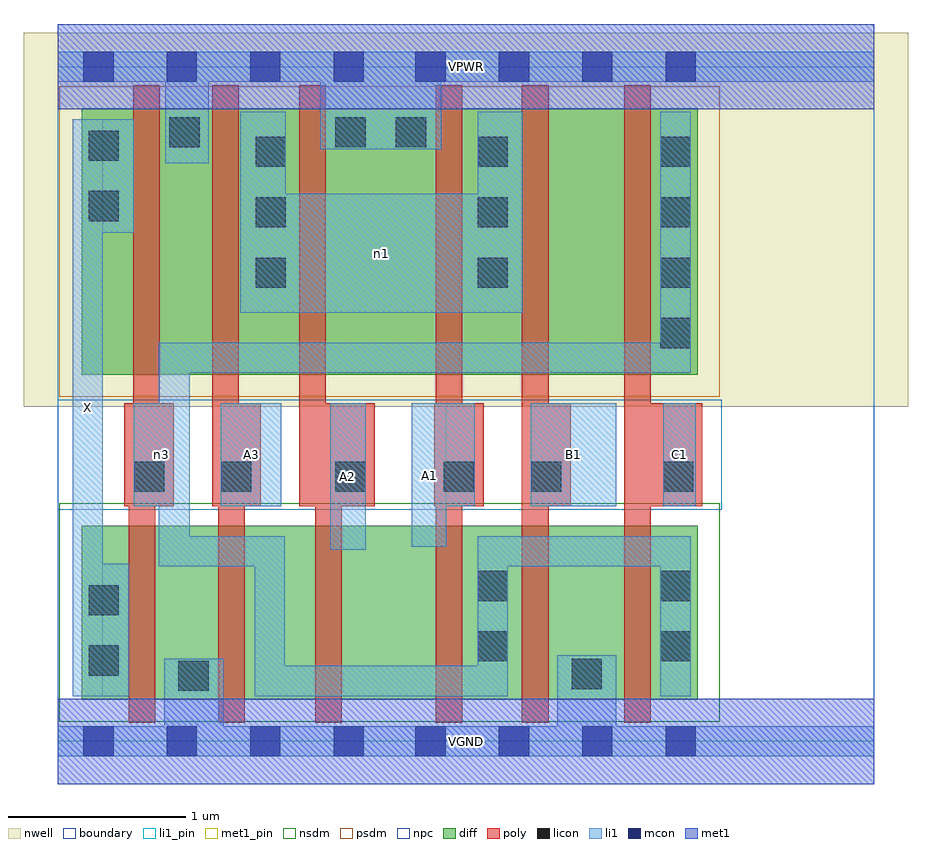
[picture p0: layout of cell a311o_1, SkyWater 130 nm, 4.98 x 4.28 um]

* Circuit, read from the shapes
.subckt a311o_1 A1 A2 A3 B1 C1 VGND VPWR X n1 n3
XM1 VGND n3 X VSUBS sky130_fd_pr__nfet_01v8 w=0.98 l=0.15
XM2 n2 A3 VGND VSUBS sky130_fd_pr__nfet_01v8 w=0.98 l=0.15
XM3 n4 A2 n2 VSUBS sky130_fd_pr__nfet_01v8 w=0.98 l=0.15
XM4 n3 A1 n4 VSUBS sky130_fd_pr__nfet_01v8 w=0.98 l=0.15
XM5 VGND B1 n3 VSUBS sky130_fd_pr__nfet_01v8 w=0.98 l=0.15
XM6 n3 C1 VGND VSUBS sky130_fd_pr__nfet_01v8 w=0.98 l=0.15
XM7 VPWR n3 X n5 sky130_fd_pr__pfet_01v8 w=1.5 l=0.15
XM8 n1 A3 VPWR n5 sky130_fd_pr__pfet_01v8 w=1.5 l=0.15
XM9 VPWR A2 n1 n5 sky130_fd_pr__pfet_01v8 w=1.5 l=0.15
XM10 n1 A1 VPWR n5 sky130_fd_pr__pfet_01v8 w=1.5 l=0.15
XM11 n6 B1 n1 n5 sky130_fd_pr__pfet_01v8 w=1.5 l=0.15
XM12 n3 C1 n6 n5 sky130_fd_pr__pfet_01v8 w=1.5 l=0.15
.ends

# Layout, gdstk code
import gdstk
lib = gdstk.Library(unit=1e-6, precision=1e-09)
def R(c, l, rs):  # rectangles x0, y0, x1, y1
    for r in rs: c.add(gdstk.rectangle(r[:2], r[2:], *l))
def A(c, l, x, y, w, h, nx, ny, dx, dy):  # array of equal rectangles
    R(c, l, [(x+i*dx, y+j*dy, x+i*dx+w, y+j*dy+h) for i in range(nx) for j in range(ny)])
nwell = (64, 20)
diff = (65, 20)
poly = (66, 20)
licon = (66, 44)
li1_pin = (67, 16)
li1 = (67, 20)
mcon = (67, 44)
met1_pin = (68, 16)
met1 = (68, 20)
nsdm = (93, 44)
psdm = (94, 20)
npc = (95, 20)
boundary = (235, 4)

a311o_1 = lib.new_cell('a311o_1')
R(a311o_1, nwell, [(-0.19,1.885,4.79,3.99), (0,1.885,4.6,3.99)])
R(a311o_1, diff, [(0.135,0.235,3.605,1.215), (0.135,2.065,3.605,3.565)])
R(a311o_1, poly, [(0.4,0.105,0.55,1.905), (0.905,0.105,1.055,1.905), (1.45,0.105,1.6,1.905), (2.13,0.105,2.28,3.695), (2.615,0.105,2.765,3.695), (3.19,0.105,3.34,3.695), (0.375,1.325,0.655,1.905), (0.425,1.325,0.575,3.695), (0.87,1.325,1.02,3.695), (0.87,1.325,1.145,1.905), (1.36,1.325,1.51,3.695), (1.36,1.325,1.785,1.905), (2.12,1.325,2.4,1.905), (2.615,1.325,2.89,1.905), (3.19,1.325,3.63,1.905)])
A(a311o_1, licon, 3.395, 2.215, 0.17, 0.17, 1, 4, 0, 0.34)
A(a311o_1, licon, 1.115, 2.555, 0.17, 0.17, 1, 3, 0, 0.34)
A(a311o_1, licon, 2.365, 2.555, 0.17, 0.17, 1, 3, 0, 0.34)
R(a311o_1, licon, [(0.68,0.285,0.85,0.455), (2.895,0.295,3.065,0.465), (0.175,0.37,0.345,0.54), (2.365,0.45,2.535,0.62), (3.395,0.45,3.565,0.62), (0.175,0.71,0.345,0.88), (2.365,0.79,2.535,0.96), (3.395,0.79,3.565,0.96), (0.43,1.405,0.6,1.575), (0.92,1.405,1.09,1.575), (1.565,1.405,1.735,1.575), (2.175,1.405,2.345,1.575), (2.665,1.405,2.835,1.575), (3.41,1.405,3.58,1.575), (0.175,2.93,0.345,3.1), (0.175,3.27,0.345,3.44), (0.63,3.345,0.8,3.515), (1.565,3.345,1.735,3.515), (1.905,3.345,2.075,3.515)])
R(a311o_1, li1_pin, [(0.085,0.255,0.255,3.505), (1.535,1.08,1.735,1.905), (1.995,1.095,2.19,1.905), (0.92,1.325,1.26,1.905), (2.665,1.325,3.145,1.905), (3.41,1.325,3.595,1.905)])
R(a311o_1, li1, [(0,-0.085,4.6,0.085), (0.6,-0.085,0.935,0.465), (2.815,-0.085,3.145,0.485), (0.085,0.255,0.255,3.505), (0.085,0.255,0.4,1), (1.11,0.255,2.535,0.425), (1.11,0.255,1.28,1.155), (2.365,0.255,2.535,1.155), (3.395,0.255,3.565,1.155), (0.57,0.985,0.745,2.245), (0.57,0.985,1.28,1.155), (2.365,0.985,3.565,1.155), (1.535,1.08,1.735,1.905), (1.995,1.095,2.19,1.905), (0.43,1.325,0.745,1.905), (0.92,1.325,1.26,1.905), (1.995,1.325,2.35,1.905), (2.665,1.325,3.145,1.905), (3.41,1.325,3.595,1.905), (0.57,2.075,3.565,2.245), (3.395,2.075,3.565,3.545), (1.03,2.415,2.62,3.085), (1.03,2.415,1.285,3.545), (2.365,2.415,2.62,3.545), (0.085,2.865,0.43,3.505), (0.605,3.255,0.85,3.885), (1.48,3.335,2.16,3.885), (0,3.715,4.6,3.885)])
A(a311o_1, mcon, 0.145, -0.085, 0.17, 0.17, 4, 2, 0.47, 3.8)
A(a311o_1, mcon, 2.015, -0.085, 0.17, 0.17, 4, 2, 0.47, 3.8)
R(a311o_1, met1_pin, [(0,-0.24,4.6,0.24), (0,3.56,4.6,4.04)])
R(a311o_1, met1, [(0,-0.24,4.6,0.24), (0,3.56,4.6,4.04)])
R(a311o_1, nsdm, [(0.01,0.11,3.73,1.34)])
R(a311o_1, psdm, [(0.01,1.94,3.73,3.69)])
R(a311o_1, npc, [(0,1.305,3.74,1.925)])
R(a311o_1, boundary, [(0,0,4.6,3.8)])
a311o_1.add(gdstk.Label('A1', (2.092,1.5), layer=67, texttype=5))
a311o_1.add(gdstk.Label('A2', (1.635,1.492), layer=67, texttype=5))
a311o_1.add(gdstk.Label('A3', (1.09,1.615), layer=67, texttype=5))
a311o_1.add(gdstk.Label('B1', (2.905,1.615), layer=67, texttype=5))
a311o_1.add(gdstk.Label('C1', (3.502,1.615), layer=67, texttype=5))
a311o_1.add(gdstk.Label('X', (0.17,1.88), layer=67, texttype=5))
a311o_1.add(gdstk.Label('n1', (1.825,2.75), layer=67, texttype=5))
a311o_1.add(gdstk.Label('n3', (0.587,1.615), layer=67, texttype=5))
a311o_1.add(gdstk.Label('VPWR', (2.3,3.8), layer=68, texttype=5))
a311o_1.add(gdstk.Label('VGND', (2.3,0), layer=68, texttype=5))
a311o_1.add(gdstk.Label('A1', (2.092,1.5), layer=67, texttype=16))
a311o_1.add(gdstk.Label('A2', (1.635,1.492), layer=67, texttype=16))
a311o_1.add(gdstk.Label('A3', (1.09,1.615), layer=67, texttype=16))
a311o_1.add(gdstk.Label('B1', (2.905,1.615), layer=67, texttype=16))
a311o_1.add(gdstk.Label('C1', (3.502,1.615), layer=67, texttype=16))
a311o_1.add(gdstk.Label('X', (0.17,1.88), layer=67, texttype=16))
a311o_1.add(gdstk.Label('VPWR', (2.3,3.8), layer=68, texttype=16))
a311o_1.add(gdstk.Label('VGND', (2.3,0), layer=68, texttype=16))

lib.write_gds('a311o_1.gds')
